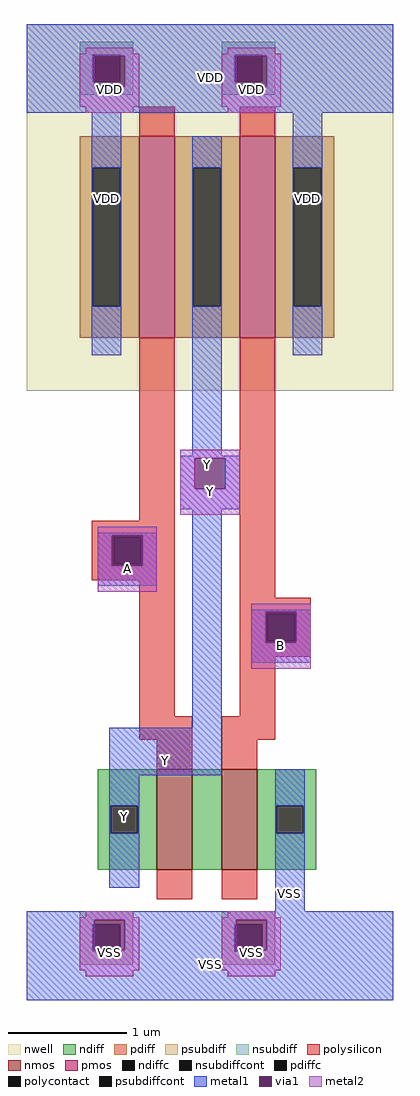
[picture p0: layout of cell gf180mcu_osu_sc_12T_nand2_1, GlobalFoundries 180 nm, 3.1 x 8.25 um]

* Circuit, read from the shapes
.subckt gf180mcu_osu_sc_12T_nand2_1 A B Y VDD VSS
XM1 n1 A Y VSS nfet_03v3 w=0.85u l=0.3u
XM2 VSS B n1 VSS nfet_03v3 w=0.85u l=0.3u
XM3 Y A VDD VDD pfet_03v3 w=1.7u l=0.3u
XM4 VDD B Y VDD pfet_03v3 w=1.7u l=0.3u
.ends

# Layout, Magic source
magic
tech gf180mcuA
magscale 1 10
<< nwell >>
rect 0 1000 620 1620
<< nmos >>
rect 220 190 280 360
rect 330 190 390 360
<< pmos >>
rect 190 1090 250 1430
rect 360 1090 420 1430
<< ndiff >>
rect 120 298 220 360
rect 120 252 142 298
rect 188 252 220 298
rect 120 190 220 252
rect 280 190 330 360
rect 390 298 490 360
rect 390 252 422 298
rect 468 252 490 298
rect 390 190 490 252
<< pdiff >>
rect 90 1377 190 1430
rect 90 1143 112 1377
rect 158 1143 190 1377
rect 90 1090 190 1143
rect 250 1377 360 1430
rect 250 1143 282 1377
rect 328 1143 360 1377
rect 250 1090 360 1143
rect 420 1377 520 1430
rect 420 1143 452 1377
rect 498 1143 520 1377
rect 420 1090 520 1143
<< ndiffc >>
rect 142 252 188 298
rect 422 252 468 298
<< pdiffc >>
rect 112 1143 158 1377
rect 282 1143 328 1377
rect 452 1143 498 1377
<< psubdiff >>
rect 90 98 180 120
rect 90 52 112 98
rect 158 52 180 98
rect 90 30 180 52
rect 330 98 420 120
rect 330 52 352 98
rect 398 52 420 98
rect 330 30 420 52
<< nsubdiff >>
rect 90 1568 180 1590
rect 90 1522 112 1568
rect 158 1522 180 1568
rect 90 1500 180 1522
rect 330 1568 420 1590
rect 330 1522 352 1568
rect 398 1522 420 1568
rect 330 1500 420 1522
<< psubdiffcont >>
rect 112 52 158 98
rect 352 52 398 98
<< nsubdiffcont >>
rect 112 1522 158 1568
rect 352 1522 398 1568
<< polysilicon >>
rect 190 1430 250 1480
rect 360 1430 420 1480
rect 190 780 250 1090
rect 110 753 250 780
rect 110 707 147 753
rect 193 707 250 753
rect 110 680 250 707
rect 190 450 250 680
rect 360 650 420 1090
rect 360 623 480 650
rect 360 577 407 623
rect 453 577 480 623
rect 360 550 480 577
rect 360 450 420 550
rect 190 410 280 450
rect 220 360 280 410
rect 330 410 420 450
rect 330 360 390 410
rect 220 140 280 190
rect 330 140 390 190
<< polycontact >>
rect 147 707 193 753
rect 407 577 453 623
<< metal1 >>
rect 0 1568 620 1620
rect 0 1522 112 1568
rect 158 1566 352 1568
rect 398 1566 620 1568
rect 166 1522 352 1566
rect 0 1514 114 1522
rect 166 1514 354 1522
rect 406 1514 620 1566
rect 0 1470 620 1514
rect 110 1377 160 1470
rect 110 1143 112 1377
rect 158 1143 160 1377
rect 110 1060 160 1143
rect 280 1377 330 1430
rect 280 1143 282 1377
rect 328 1143 330 1377
rect 280 890 330 1143
rect 450 1377 500 1470
rect 450 1143 452 1377
rect 498 1143 500 1377
rect 450 1060 500 1143
rect 260 886 360 890
rect 260 834 284 886
rect 336 834 360 886
rect 260 800 360 834
rect 120 756 220 760
rect 120 704 144 756
rect 196 704 220 756
rect 120 670 220 704
rect 280 430 330 800
rect 380 626 480 630
rect 380 574 404 626
rect 456 574 480 626
rect 380 540 480 574
rect 140 350 330 430
rect 140 298 190 350
rect 140 252 142 298
rect 188 252 190 298
rect 140 160 190 252
rect 420 298 470 360
rect 420 252 422 298
rect 468 252 470 298
rect 420 120 470 252
rect 0 106 620 120
rect 0 98 114 106
rect 166 98 354 106
rect 0 52 112 98
rect 166 54 352 98
rect 406 54 620 106
rect 158 52 352 54
rect 398 52 620 54
rect 0 -30 620 52
<< via1 >>
rect 114 1522 158 1566
rect 158 1522 166 1566
rect 354 1522 398 1566
rect 398 1522 406 1566
rect 114 1514 166 1522
rect 354 1514 406 1522
rect 284 834 336 886
rect 144 753 196 756
rect 144 707 147 753
rect 147 707 193 753
rect 193 707 196 753
rect 144 704 196 707
rect 404 623 456 626
rect 404 577 407 623
rect 407 577 453 623
rect 453 577 456 623
rect 404 574 456 577
rect 114 98 166 106
rect 354 98 406 106
rect 114 54 158 98
rect 158 54 166 98
rect 354 54 398 98
rect 398 54 406 98
<< metal2 >>
rect 100 1570 180 1580
rect 340 1570 420 1580
rect 90 1566 190 1570
rect 90 1514 114 1566
rect 166 1514 190 1566
rect 90 1480 190 1514
rect 330 1566 430 1570
rect 330 1514 354 1566
rect 406 1514 430 1566
rect 330 1480 430 1514
rect 100 1470 180 1480
rect 340 1470 420 1480
rect 260 886 360 900
rect 260 834 284 886
rect 336 834 360 886
rect 260 790 360 834
rect 120 756 220 770
rect 120 704 144 756
rect 196 704 220 756
rect 120 660 220 704
rect 380 626 480 640
rect 380 574 404 626
rect 456 574 480 626
rect 380 530 480 574
rect 100 110 180 120
rect 340 110 420 120
rect 90 106 190 110
rect 90 54 114 106
rect 166 54 190 106
rect 90 20 190 54
rect 330 106 430 110
rect 330 54 354 106
rect 406 54 430 106
rect 330 20 430 54
rect 100 10 180 20
rect 340 10 420 20
<< labels >>
rlabel metal2 s 100 1470 180 1550 4 VDD
port 8 nsew power bidirectional abutment
rlabel metal2 s 100 10 180 90 4 VSS
port 9 nsew ground bidirectional
rlabel metal2 s 120 660 220 740 4 A
port 1 nsew signal input
rlabel metal2 s 380 530 480 610 4 B
port 2 nsew signal input
rlabel metal2 s 260 790 360 870 4 Y
port 3 nsew signal output
rlabel metal1 s 120 670 220 730 1 A
port 1 nsew signal input
rlabel metal1 s 380 540 480 600 1 B
port 2 nsew signal input
rlabel metal2 s 90 1480 190 1540 1 VDD
port 8 nsew power bidirectional abutment
rlabel metal2 s 340 1470 420 1550 1 VDD
port 8 nsew power bidirectional abutment
rlabel metal2 s 330 1480 430 1540 1 VDD
port 8 nsew power bidirectional abutment
rlabel metal1 s 110 1060 160 1590 1 VDD
port 8 nsew power bidirectional abutment
rlabel metal1 s 450 1060 500 1590 1 VDD
port 8 nsew power bidirectional abutment
rlabel metal1 s 0 1470 620 1590 1 VDD
port 8 nsew power bidirectional abutment
rlabel metal2 s 90 20 190 80 1 VSS
port 9 nsew ground bidirectional
rlabel metal2 s 340 10 420 90 1 VSS
port 9 nsew ground bidirectional
rlabel metal2 s 330 20 430 80 1 VSS
port 9 nsew ground bidirectional
rlabel metal1 s 420 -30 470 330 1 VSS
port 9 nsew ground bidirectional
rlabel metal1 s 0 -30 620 90 1 VSS
port 9 nsew ground bidirectional
rlabel metal1 s 140 160 190 400 1 Y
port 3 nsew signal output
rlabel metal1 s 140 350 330 400 1 Y
port 3 nsew signal output
rlabel metal1 s 280 350 330 1400 1 Y
port 3 nsew signal output
rlabel metal1 s 260 800 360 860 1 Y
port 3 nsew signal output
<< properties >>
string FIXED_BBOX 0 -30 620 1590
string GDS_END 406470
string GDS_FILE $PDKPATH/libs.ref/gf180mcu_osu_sc_12T/gds/gf180mcu_osu_sc_12T.gds
string GDS_START 401152
string LEFclass CORE
string LEFsite GF018hv5v_mcu_sc7
string LEFsymmetry X Y
<< end >>
